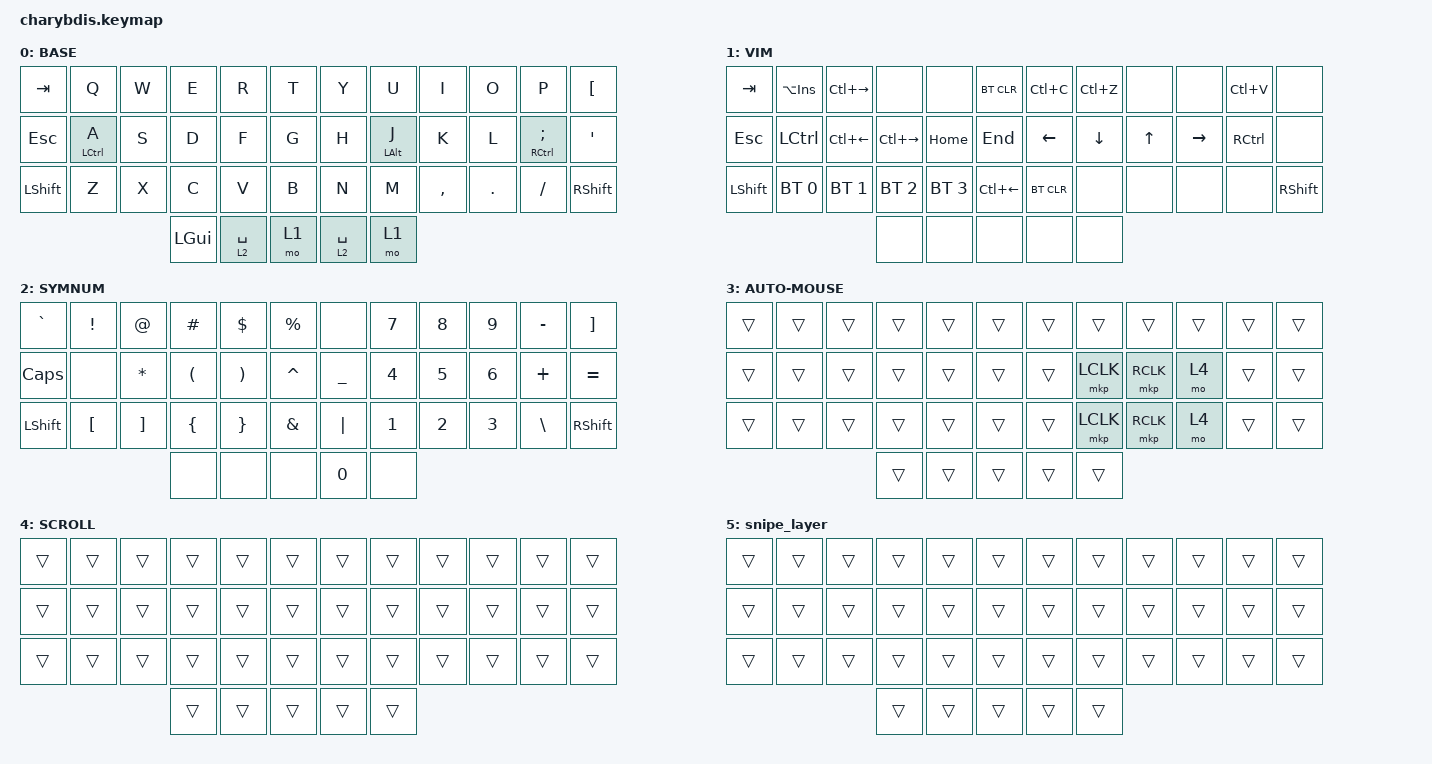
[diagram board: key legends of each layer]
#include <behaviors.dtsi>
#include <dt-bindings/zmk/keys.h>
#include <dt-bindings/zmk/bt.h>
#include <dt-bindings/zmk/ext_power.h>
#include <dt-bindings/zmk/mouse.h>
#include <dt-bindings/zmk/outputs.h>

#define U_TAPPING_TERM 200

/ {
    chosen { zmk,matrix_transform = &default_transform; };
};

/ {
    combos {
        compatible = "zmk,combos";

        ScrollLayer {
            bindings = <&tog 4>;
            key-positions = <32 33>;
        };

        LeftClck {
            bindings = <&mkp LCLK>;
            key-positions = <32 31>;
        };

        Enter {
            bindings = <&kp ENTER>;
            key-positions = <8 9>;
        };

        bootloader_left {
            bindings = <&bootloader>;
            key-positions = <24 38>;
        };

        bootloader_right {
            bindings = <&bootloader>;
            key-positions = <35 40>;
        };

        backspace {
            bindings = <&kp BACKSPACE>;
            key-positions = <7 8>;
        };

        delete {
            bindings = <&kp DELETE>;
            key-positions = <2 3>;
        };

        LeftClick {
            bindings = <&mkp LCLK>;
            key-positions = <19 20>;
        };

        RightClick {
            bindings = <&mkp RCLK>;
            key-positions = <20 21>;
        };

        MiddleClick {
            bindings = <&mkp LCLK>;
            key-positions = <21 22>;
        };
    };

    behaviors {
        u_mt: u_mt {
            compatible = "zmk,behavior-hold-tap";
            label = "u_mt";
            #binding-cells = <2>;
            tapping_term_ms = <U_TAPPING_TERM>;
            flavor = "tap-preferred";
            bindings = <&kp>, <&kp>;
        };

        hml: hml {
            compatible = "zmk,behavior-hold-tap";
            label = "HML";
            bindings = <&kp>, <&kp>;

            #binding-cells = <2>;
            tapping-term-ms = <200>;
            quick-tap-ms = <100>;
            require-prior-idle-ms = <100>;
            flavor = "balanced";
            hold-trigger-key-positions = <6 7 8 9 10 11 18 19 20 21 22 23 30 31 32 33 34 35 39 40>;
        };

        hmr: hmr {
            compatible = "zmk,behavior-hold-tap";
            label = "HMR";
            bindings = <&kp>, <&kp>;

            #binding-cells = <2>;
            tapping-term-ms = <200>;
            quick-tap-ms = <100>;
            require-prior-idle-ms = <100>;
            flavor = "balanced";
            hold-trigger-key-positions = <0 1 2 3 4 5 12 13 14 15 16 17 24 25 26 27 28 29 36 37 38>;
        };

        mo_kp: mo_kp {
            compatible = "zmk,behavior-hold-tap";
            label = "MO_KP";
            bindings = <&mo>, <&kp>;

            #binding-cells = <2>;
            tapping-term-ms = <200>;
            quick-tap-ms = <100>;
            require-prior-idle-ms = <100>;
            flavor = "balanced";
            hold-trigger-key-positions = <0 1 2 3 4 5 6 7 8 9 10 11 12 13 14 15 16 17 18 19 20 21 22 23 24 25 26 27 28 29 30 31 32 33 34 35 36 37 38 39 40>;
        };
    };

    keymap {
        compatible = "zmk,keymap";

        BASE {
            bindings = <
&kp TAB         &kp Q                &kp W  &kp E     &kp R        &kp T    &kp Y        &kp U            &kp I      &kp O    &kp P                    &kp LEFT_BRACKET
&kp ESCAPE      &hml LEFT_CONTROL A  &kp S  &kp D     &kp F        &kp G    &kp H        &hmr LEFT_ALT J  &kp K      &kp L    &hmr RIGHT_CONTROL SEMI  &kp APOS
&kp LEFT_SHIFT  &kp Z                &kp X  &kp C     &kp V        &kp B    &kp N        &kp M            &kp COMMA  &kp DOT  &kp FSLH                 &kp RIGHT_SHIFT
                                            &kp LGUI  &lt 2 SPACE  &mo 1    &lt 2 SPACE  &mo 1
            >;
        };

        VIM {
            bindings = <
&kp TAB         &kp LA(INSERT)    &kp LC(RIGHT)  &none          &none         &bt BT_CLR      &kp LC(C)   &kp LC(Z)  &none         &none      &kp LC(V)          &none
&kp ESCAPE      &kp LEFT_CONTROL  &kp LC(LEFT)   &kp LC(RIGHT)  &kp HOME      &kp END         &kp LEFT    &kp DOWN   &kp UP_ARROW  &kp RIGHT  &kp RIGHT_CONTROL  &none
&kp LEFT_SHIFT  &bt BT_SEL 0      &bt BT_SEL 1   &bt BT_SEL 2   &bt BT_SEL 3  &kp LC(LEFT)    &bt BT_CLR  &none      &none         &none      &none              &kp RIGHT_SHIFT
                                                 &none          &none         &none           &none       &none
            >;
        };

        SYMNUM {
            bindings = <
&kp GRAVE       &kp EXCL          &kp AT             &kp HASH              &kp DLLR               &kp PRCNT        &none      &kp N7  &kp N8  &kp N9  &kp MINUS      &kp RIGHT_BRACKET
&kp CAPSLOCK    &none             &kp ASTERISK       &kp LEFT_PARENTHESIS  &kp RIGHT_PARENTHESIS  &kp CARET        &kp UNDER  &kp N4  &kp N5  &kp N6  &kp PLUS       &kp EQUAL
&kp LEFT_SHIFT  &kp LEFT_BRACKET  &kp RIGHT_BRACKET  &kp LEFT_BRACE        &kp RIGHT_BRACE        &kp AMPERSAND    &kp PIPE   &kp N1  &kp N2  &kp N3  &kp BACKSLASH  &kp RIGHT_SHIFT
                                                     &none                 &none                  &none            &kp N0     &none
            >;
        };

        AUTO-MOUSE {
            bindings = <
&trans  &trans  &trans  &trans  &trans  &trans    &trans  &trans     &trans     &trans  &trans  &trans
&trans  &trans  &trans  &trans  &trans  &trans    &trans  &mkp LCLK  &mkp RCLK  &mo 4   &trans  &trans
&trans  &trans  &trans  &trans  &trans  &trans    &trans  &mkp LCLK  &mkp RCLK  &mo 4   &trans  &trans
                        &trans  &trans  &trans    &trans  &trans
            >;
        };

        SCROLL {
            bindings = <
&trans  &trans  &trans  &trans  &trans  &trans    &trans  &trans  &trans  &trans  &trans  &trans
&trans  &trans  &trans  &trans  &trans  &trans    &trans  &trans  &trans  &trans  &trans  &trans
&trans  &trans  &trans  &trans  &trans  &trans    &trans  &trans  &trans  &trans  &trans  &trans
                        &trans  &trans  &trans    &trans  &trans
            >;
        };

        snipe_layer {
            bindings = <
&trans  &trans  &trans  &trans  &trans  &trans    &trans  &trans  &trans  &trans  &trans  &trans
&trans  &trans  &trans  &trans  &trans  &trans    &trans  &trans  &trans  &trans  &trans  &trans
&trans  &trans  &trans  &trans  &trans  &trans    &trans  &trans  &trans  &trans  &trans  &trans
                        &trans  &trans  &trans    &trans  &trans
            >;
        };
    };

    conditional_layers { compatible = "zmk,conditional-layers"; };
};
